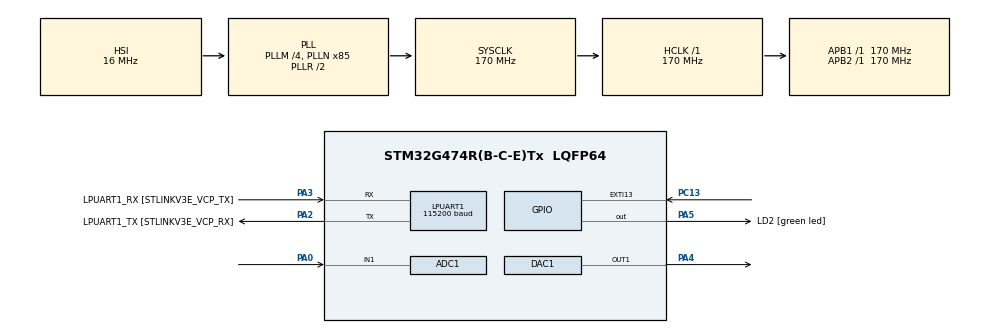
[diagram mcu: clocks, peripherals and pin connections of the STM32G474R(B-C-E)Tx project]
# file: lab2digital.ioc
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ADC1.Channel-1\#ChannelRegularConversion=ADC_CHANNEL_TEMPSENSOR_ADC1
ADC1.NbrOfConversionFlag=1
ADC1.OffsetNumber-1\#ChannelRegularConversion=ADC_OFFSET_NONE
ADC1.Rank-1\#ChannelRegularConversion=1
ADC1.Resolution=ADC_RESOLUTION_10B
ADC1.SamplingTime-1\#ChannelRegularConversion=ADC_SAMPLETIME_2CYCLES_5
ADC1.master=1
LPUART1.BaudRate=115200
LPUART1.WordLength=UART_WORDLENGTH_8B
Mcu.Family=STM32G4
Mcu.Name=STM32G474R(B-C-E)Tx
Mcu.Package=LQFP64
NVIC.PriorityGroup=NVIC_PRIORITYGROUP_4
PA0.Mode=IN1-Single-Ended
PA0.Signal=ADC1_IN1
PA13.GPIO_Label=T_SWDIO
PA13.Mode=Serial_Wire
PA13.Signal=SYS_JTMS-SWDIO
PA14.GPIO_Label=T_SWCLK
PA14.Mode=Serial_Wire
PA14.Signal=SYS_JTCK-SWCLK
PA2.GPIO_Label=LPUART1_TX [STLINKV3E_VCP_RX]
PA2.Mode=Asynchronous
PA2.Signal=LPUART1_TX
PA3.GPIO_Label=LPUART1_RX [STLINKV3E_VCP_TX]
PA3.Mode=Asynchronous
PA3.Signal=LPUART1_RX
PA4.Signal=COMP_DAC11_group
PA5.GPIO_Label=LD2 [green led]
PA5.Signal=GPIO_Output
PB3.GPIO_Label=T_SWO
PB3.Signal=SYS_JTDO-SWO
PC13.Signal=GPXTI13
PC14-OSC32_IN.Mode=LSE-External-Oscillator
PC14-OSC32_IN.Signal=RCC_OSC32_IN
PC15-OSC32_OUT.Mode=LSE-External-Oscillator
PC15-OSC32_OUT.Signal=RCC_OSC32_OUT
PF0-OSC_IN.Mode=HSE-External-Oscillator
PF0-OSC_IN.Signal=RCC_OSC_IN
PF1-OSC_OUT.Mode=HSE-External-Oscillator
PF1-OSC_OUT.Signal=RCC_OSC_OUT
ProjectManager.HeapSize=0x200
ProjectManager.StackSize=0x400
ProjectManager.TargetToolchain=STM32CubeIDE
RCC.ADC12Freq_Value=170000000
RCC.ADC345Freq_Value=170000000
RCC.AHBFreq_Value=170000000
RCC.APB1Freq_Value=170000000
RCC.APB1TimFreq_Value=170000000
RCC.APB2Freq_Value=170000000
RCC.APB2TimFreq_Value=170000000
RCC.CortexFreq_Value=170000000
RCC.EXTERNAL_CLOCK_VALUE=12288000
RCC.HCLKFreq_Value=170000000
RCC.HSE_VALUE=24000000
RCC.HSI48_VALUE=48000000
RCC.HSI_VALUE=16000000
RCC.PLLM=RCC_PLLM_DIV4
RCC.PLLN=85
RCC.RTCClockSelection=RCC_RTCCLKSOURCE_LSE
RCC.SYSCLKFreq_VALUE=170000000
RCC.SYSCLKSource=RCC_SYSCLKSOURCE_PLLCLK
RCC.USBFreq_Value=170000000
RCC.VCOOutputFreq_Value=340000000
SH.COMP_DAC11_group.0=DAC1_OUT1,DAC_OUT1
VP_ADC1_TempSens_Input.Mode=IN-TempSens
VP_SYS_VS_DBSignals.Mode=DisableDeadBatterySignals
board=NUCLEO-G474RE

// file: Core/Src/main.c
/* USER CODE BEGIN Header */
/**
  ******************************************************************************
  * @file           : main.c
  * @brief          : Main program body
  ******************************************************************************
  * @attention
  *
  * Copyright (c) 2023 STMicroelectronics.
  * All rights reserved.
  *
  * This software is licensed under terms that can be found in the LICENSE file
  * in the root directory of this software component.
  * If no LICENSE file comes with this software, it is provided AS-IS.
  *
  ******************************************************************************
  */
/* USER CODE END Header */
#include "main.h"

ADC_HandleTypeDef hadc1;

DAC_HandleTypeDef hdac1;

UART_HandleTypeDef hlpuart1;

/* USER CODE BEGIN PV */
struct _ADC_tag
{
ADC_ChannelConfTypeDef Config;
uint16_t data;
};
struct _ADC_tag ADC1_Channel[2] =
{
{
.Config.Channel = ADC_CHANNEL_1,
.Config.Rank = ADC_REGULAR_RANK_1,
.Config.SamplingTime = ADC_SAMPLETIME_640CYCLES_5,
.Config.SingleDiff = ADC_SINGLE_ENDED,
.Config.OffsetNumber = ADC_OFFSET_NONE,
.Config.Offset = 0,
.data = 0
},
{
.Config.Channel = ADC_CHANNEL_TEMPSENSOR_ADC1,
.Config.Rank = ADC_REGULAR_RANK_1,
.Config.SamplingTime = ADC_SAMPLETIME_640CYCLES_5,
.Config.SingleDiff = ADC_SINGLE_ENDED,
.Config.OffsetNumber = ADC_OFFSET_NONE,
.Config.Offset = 0,
.data = 0
}
};
float output_mvADC ;
uint16_t DAC_Output=0;
float outDAC_mvraw=0;
uint16_t DAC_Pre_Input;
uint16_t DAC_Input;
float Input_Voltage ;
float Pre_Voltage ;
float DAC_Voltage_Output;
/* USER CODE END PV */

void SystemClock_Config(void);
static void MX_GPIO_Init(void);
static void MX_LPUART1_UART_Init(void);
static void MX_ADC1_Init(void);
static void MX_DAC1_Init(void);
/* USER CODE BEGIN PFP */
void ADC_Read_blocking();
void ans_raw ();

void DAC_Update();

void Press_the_button();

/* USER CODE END PFP */

int main(void)
{

  /* MCU Configuration--------------------------------------------------------*/

  /* Reset of all peripherals, Initializes the Flash interface and the Systick. */
  HAL_Init();

  /* Configure the system clock */
  SystemClock_Config();

  /* Initialize all configured peripherals */
  MX_GPIO_Init();
  MX_LPUART1_UART_Init();
  MX_ADC1_Init();
  MX_DAC1_Init();
  /* USER CODE BEGIN 2 */
  HAL_ADCEx_Calibration_Start(&hadc1, ADC_SINGLE_ENDED);

  HAL_DAC_SetValue(&hdac1, DAC_CHANNEL_1, DAC_ALIGN_12B_R, 2048);
  HAL_DAC_Start(&hdac1, DAC_CHANNEL_1);
  /* USER CODE END 2 */

  /* Infinite loop */
  while (1)
  {

    /* USER CODE BEGIN 3 */
	  ADC_Read_blocking();
	  ans_raw();
	  DAC_Update();
	  Press_the_button();
	  }
	  }

  /* USER CODE END 3 */

void SystemClock_Config(void)
{
  RCC_OscInitTypeDef RCC_OscInitStruct = {0};
  RCC_ClkInitTypeDef RCC_ClkInitStruct = {0};

  /** Configure the main internal regulator output voltage
  */
  HAL_PWREx_ControlVoltageScaling(PWR_REGULATOR_VOLTAGE_SCALE1_BOOST);

  /** Initializes the RCC Oscillators according to the specified parameters
  * in the RCC_OscInitTypeDef structure.
  */
  RCC_OscInitStruct.OscillatorType = RCC_OSCILLATORTYPE_HSI;
  RCC_OscInitStruct.HSIState = RCC_HSI_ON;
  RCC_OscInitStruct.HSICalibrationValue = RCC_HSICALIBRATION_DEFAULT;
  RCC_OscInitStruct.PLL.PLLState = RCC_PLL_ON;
  RCC_OscInitStruct.PLL.PLLSource = RCC_PLLSOURCE_HSI;
  RCC_OscInitStruct.PLL.PLLM = RCC_PLLM_DIV4;
  RCC_OscInitStruct.PLL.PLLN = 85;
  RCC_OscInitStruct.PLL.PLLP = RCC_PLLP_DIV2;
  RCC_OscInitStruct.PLL.PLLQ = RCC_PLLQ_DIV2;
  RCC_OscInitStruct.PLL.PLLR = RCC_PLLR_DIV2;
  if (HAL_RCC_OscConfig(&RCC_OscInitStruct) != HAL_OK)
  {
    Error_Handler();
  }

  /** Initializes the CPU, AHB and APB buses clocks
  */
  RCC_ClkInitStruct.ClockType = RCC_CLOCKTYPE_HCLK|RCC_CLOCKTYPE_SYSCLK
                              |RCC_CLOCKTYPE_PCLK1|RCC_CLOCKTYPE_PCLK2;
  RCC_ClkInitStruct.SYSCLKSource = RCC_SYSCLKSOURCE_PLLCLK;
  RCC_ClkInitStruct.AHBCLKDivider = RCC_SYSCLK_DIV1;
  RCC_ClkInitStruct.APB1CLKDivider = RCC_HCLK_DIV1;
  RCC_ClkInitStruct.APB2CLKDivider = RCC_HCLK_DIV1;

  if (HAL_RCC_ClockConfig(&RCC_ClkInitStruct, FLASH_LATENCY_4) != HAL_OK)
  {
    Error_Handler();
  }
}

static void MX_ADC1_Init(void)
{

  ADC_MultiModeTypeDef multimode = {0};
  ADC_ChannelConfTypeDef sConfig = {0};

  /** Common config
  */
  hadc1.Instance = ADC1;
  hadc1.Init.ClockPrescaler = ADC_CLOCK_SYNC_PCLK_DIV4;
  hadc1.Init.Resolution = ADC_RESOLUTION_10B;
  hadc1.Init.DataAlign = ADC_DATAALIGN_RIGHT;
  hadc1.Init.GainCompensation = 0;
  hadc1.Init.ScanConvMode = ADC_SCAN_DISABLE;
  hadc1.Init.EOCSelection = ADC_EOC_SINGLE_CONV;
  hadc1.Init.LowPowerAutoWait = DISABLE;
  hadc1.Init.ContinuousConvMode = DISABLE;
  hadc1.Init.NbrOfConversion = 1;
  hadc1.Init.DiscontinuousConvMode = DISABLE;
  hadc1.Init.ExternalTrigConv = ADC_SOFTWARE_START;
  hadc1.Init.ExternalTrigConvEdge = ADC_EXTERNALTRIGCONVEDGE_NONE;
  hadc1.Init.DMAContinuousRequests = DISABLE;
  hadc1.Init.Overrun = ADC_OVR_DATA_PRESERVED;
  hadc1.Init.OversamplingMode = DISABLE;
  if (HAL_ADC_Init(&hadc1) != HAL_OK)
  {
    Error_Handler();
  }

  /** Configure the ADC multi-mode
  */
  multimode.Mode = ADC_MODE_INDEPENDENT;
  if (HAL_ADCEx_MultiModeConfigChannel(&hadc1, &multimode) != HAL_OK)
  {
    Error_Handler();
  }

  /** Configure Regular Channel
  */
  sConfig.Channel = ADC_CHANNEL_TEMPSENSOR_ADC1;
  sConfig.Rank = ADC_REGULAR_RANK_1;
  sConfig.SamplingTime = ADC_SAMPLETIME_2CYCLES_5;
  sConfig.SingleDiff = ADC_SINGLE_ENDED;
  sConfig.OffsetNumber = ADC_OFFSET_NONE;
  sConfig.Offset = 0;
  if (HAL_ADC_ConfigChannel(&hadc1, &sConfig) != HAL_OK)
  {
    Error_Handler();
  }

}

static void MX_DAC1_Init(void)
{

  DAC_ChannelConfTypeDef sConfig = {0};

  /** DAC Initialization
  */
  hdac1.Instance = DAC1;
  if (HAL_DAC_Init(&hdac1) != HAL_OK)
  {
    Error_Handler();
  }

  /** DAC channel OUT1 config
  */
  sConfig.DAC_HighFrequency = DAC_HIGH_FREQUENCY_INTERFACE_MODE_AUTOMATIC;
  sConfig.DAC_DMADoubleDataMode = DISABLE;
  sConfig.DAC_SignedFormat = DISABLE;
  sConfig.DAC_SampleAndHold = DAC_SAMPLEANDHOLD_DISABLE;
  sConfig.DAC_Trigger = DAC_TRIGGER_NONE;
  sConfig.DAC_Trigger2 = DAC_TRIGGER_NONE;
  sConfig.DAC_OutputBuffer = DAC_OUTPUTBUFFER_ENABLE;
  sConfig.DAC_ConnectOnChipPeripheral = DAC_CHIPCONNECT_EXTERNAL;
  sConfig.DAC_UserTrimming = DAC_TRIMMING_FACTORY;
  if (HAL_DAC_ConfigChannel(&hdac1, &sConfig, DAC_CHANNEL_1) != HAL_OK)
  {
    Error_Handler();
  }

}

static void MX_LPUART1_UART_Init(void)
{

  hlpuart1.Instance = LPUART1;
  hlpuart1.Init.BaudRate = 115200;
  hlpuart1.Init.WordLength = UART_WORDLENGTH_8B;
  hlpuart1.Init.StopBits = UART_STOPBITS_1;
  hlpuart1.Init.Parity = UART_PARITY_NONE;
  hlpuart1.Init.Mode = UART_MODE_TX_RX;
  hlpuart1.Init.HwFlowCtl = UART_HWCONTROL_NONE;
  hlpuart1.Init.OneBitSampling = UART_ONE_BIT_SAMPLE_DISABLE;
  hlpuart1.Init.ClockPrescaler = UART_PRESCALER_DIV1;
  hlpuart1.AdvancedInit.AdvFeatureInit = UART_ADVFEATURE_NO_INIT;
  if (HAL_UART_Init(&hlpuart1) != HAL_OK)
  {
    Error_Handler();
  }
  if (HAL_UARTEx_SetTxFifoThreshold(&hlpuart1, UART_TXFIFO_THRESHOLD_1_8) != HAL_OK)
  {
    Error_Handler();
  }
  if (HAL_UARTEx_SetRxFifoThreshold(&hlpuart1, UART_RXFIFO_THRESHOLD_1_8) != HAL_OK)
  {
    Error_Handler();
  }
  if (HAL_UARTEx_DisableFifoMode(&hlpuart1) != HAL_OK)
  {
    Error_Handler();
  }

}

static void MX_GPIO_Init(void)
{
  GPIO_InitTypeDef GPIO_InitStruct = {0};

  /* GPIO Ports Clock Enable */
  __HAL_RCC_GPIOC_CLK_ENABLE();
  __HAL_RCC_GPIOF_CLK_ENABLE();
  __HAL_RCC_GPIOA_CLK_ENABLE();
  __HAL_RCC_GPIOB_CLK_ENABLE();

  /*Configure GPIO pin Output Level */
  HAL_GPIO_WritePin(LD2_GPIO_Port, LD2_Pin, GPIO_PIN_RESET);

  /*Configure GPIO pin : PC13 */
  GPIO_InitStruct.Pin = GPIO_PIN_13;
  GPIO_InitStruct.Mode = GPIO_MODE_IT_RISING;
  GPIO_InitStruct.Pull = GPIO_NOPULL;
  HAL_GPIO_Init(GPIOC, &GPIO_InitStruct);

  /*Configure GPIO pin : LD2_Pin */
  GPIO_InitStruct.Pin = LD2_Pin;
  GPIO_InitStruct.Mode = GPIO_MODE_OUTPUT_PP;
  GPIO_InitStruct.Pull = GPIO_NOPULL;
  GPIO_InitStruct.Speed = GPIO_SPEED_FREQ_LOW;
  HAL_GPIO_Init(LD2_GPIO_Port, &GPIO_InitStruct);

}

/* USER CODE BEGIN 4 */
void ADC_Read_blocking()
{
static uint32_t TimeStamp = 0;
if( HAL_GetTick()<TimeStamp) return;
TimeStamp = HAL_GetTick()+500;
for(int i=0;i<2;i++)
{
HAL_ADC_ConfigChannel(&hadc1, &ADC1_Channel[i].Config);
HAL_ADC_Start(&hadc1);
HAL_ADC_PollForConversion(&hadc1, 100);
ADC1_Channel[i].data = HAL_ADC_GetValue(&hadc1);
HAL_ADC_Stop(&hadc1);
}
}
void ans_raw(){
	output_mvADC = ADC1_Channel[0].data*(3300.0 / 1023.0);
}
void DAC_Update()
{
static uint32_t timeStamp =0;
if(HAL_GetTick()>timeStamp)
{
timeStamp = HAL_GetTick()+750;
if (DAC_Input != DAC_Pre_Input)
    {
        DAC_Output = DAC_Input;
        DAC_Voltage_Output = 3300*DAC_Output/4096;
    }
    else if (Input_Voltage != Pre_Voltage)
    {
        DAC_Output = 4096*Input_Voltage/3300;
        DAC_Voltage_Output = 3300*DAC_Output/4096;
    }
HAL_DAC_SetValue(&hdac1, DAC_CHANNEL_1, DAC_ALIGN_12B_R, DAC_Output);
Pre_Voltage = Input_Voltage;
DAC_Pre_Input = DAC_Input;
HAL_DAC_SetValue(&hdac1, DAC_CHANNEL_1, DAC_ALIGN_12B_R, DAC_Output);
}
}
//void mvchange(){
//	DAC_Output = (inmv_to_raw  * 4095.0) / 3300.0;
//
//}
//void rawchange(){
//	outDAC_mvraw = (inraw_to_mv*4095.0)/3300.0 ;

//}
void Press_the_button(){
	if (HAL_GPIO_ReadPin(GPIOC, GPIO_PIN_13) == 1) {
		DAC_Output = (output_mvADC*4095.0) /3300. ;

	    }
//	}
//void HAL_GPIO_EXTI_Callback(uint16_t GPIO_Pin)
//{
//if(GPIO_Pin == GPIO_PIN_13)
//{
//HAL_GPIO_TogglePin(GPIOA, GPIO_PIN_5);
//DAC_Output = (output_mvADC*4095.0) /3300. ;
//}
}
//	ตรวจสอบสถานะของปุ่ม B1
//	GPIO_PinState B1 = HAL_GPIO_ReadPin(GPIOC, GPIO_PIN_13);
//	if (B1 == GPIO_PIN_SET)
//	{
//		HAL_GPIO_WritePin(GPIOA, GPIO_PIN_5, B1);
//
//	ADC_Read_blocking(); // อ่านค่า
//	ans_raw(); // คำนวณค่า
//
//	DAC_Output = ADC1_Channel[0].data >> 2; // นำค่าที่ได้จา�? ADC ไปใส่ใน DAC
//	 // �?ปลงค่า DAC_Output เป็น�?บบ analog
//	digital_change();
//	analog_change();
//	}else{
//		 HAL_GPIO_WritePin(GPIOA, GPIO_PIN_5, GPIO_PIN_RESET);
//	}

/* USER CODE END 4 */

void Error_Handler(void)
{
  __disable_irq();
  while (1)
  {
  }
}
